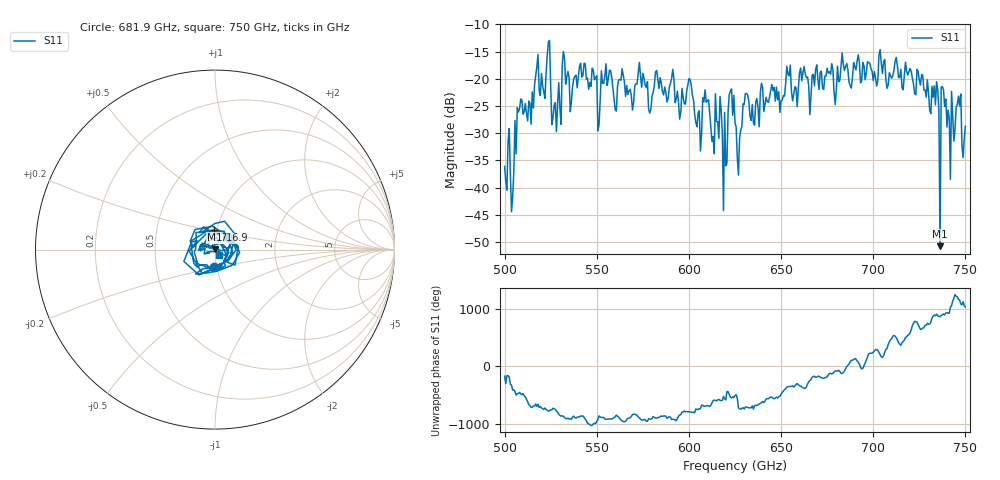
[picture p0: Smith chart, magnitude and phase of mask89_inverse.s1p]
!Created with skrf (http://scikit-rf.org).
# GHz S MA R 50.0
!freq magS11 angS11
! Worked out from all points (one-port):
!   401 points, 500 GHz to 750 GHz, reference 50 ohm
!   lowest |S11| = -50.8 dB at 736.2 GHz (marker M1), VSWR 1.01, Z = 49.8 + j0.188 ohm
!   |S11| at or under -10 dB: start of sweep to end of sweep
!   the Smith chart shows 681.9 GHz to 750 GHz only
!   S11 on the Smith chart (normalised r, x): 681.9 GHz: 0.98, -0.19; 716.9 GHz: 0.97, +0.21; 750 GHz: 1.04, -0.06
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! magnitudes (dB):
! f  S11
! 500 GHz  -36.1
! 504.4 GHz  -41.7
! 508.1 GHz  -25.5
! 517.5 GHz  -17.8
! 523.8 GHz  -13.2
! 526.9 GHz  -24.8
! 531.2 GHz  -17.6
! 562.5 GHz  -20.1
! 593.8 GHz  -22.3
! 600.6 GHz  -20.1
! 605.6 GHz  -25.9
! 609.4 GHz  -24.3
! 619.4 GHz  -26.2
! 622.5 GHz  -22.3
! 625 GHz  -28.1
! 627.5 GHz  -30.9
! 630.6 GHz  -22.7
! 656.2 GHz  -24.0
! 681.9 GHz  -20.3
! 687.5 GHz  -21.2
! 716.9 GHz  -19.3
! 718.8 GHz  -19.3
! 733.8 GHz  -24.8
! 736.2 GHz  -50.8
! 738.1 GHz  -22.0
! 740.6 GHz  -25.7
! 746.2 GHz  -23.2
! 750 GHz  -28.7
